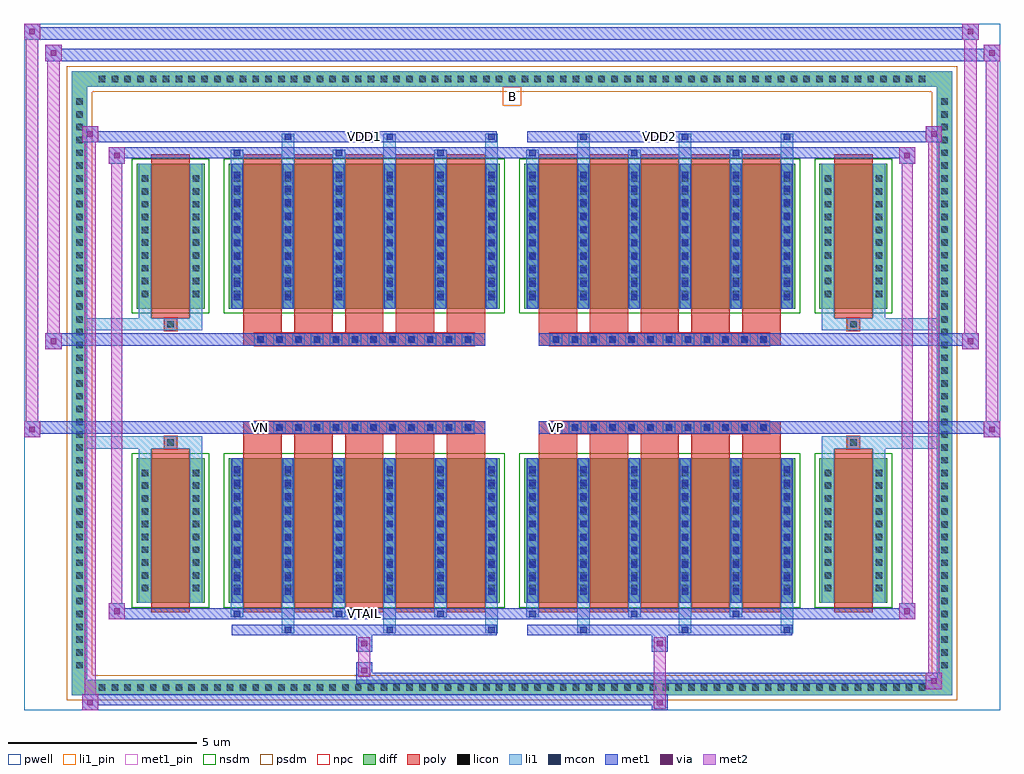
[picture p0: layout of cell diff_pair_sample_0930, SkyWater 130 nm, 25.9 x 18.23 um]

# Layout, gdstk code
import gdstk
lib = gdstk.Library(unit=1e-6, precision=5e-09)
def R(c, l, rs):  # rectangles x0, y0, x1, y1
    for r in rs: c.add(gdstk.rectangle(r[:2], r[2:], *l))
def A(c, l, x, y, w, h, nx, ny, dx, dy):  # array of equal rectangles
    R(c, l, [(x+i*dx, y+j*dy, x+i*dx+w, y+j*dy+h) for i in range(nx) for j in range(ny)])
def P(c, l, *ps):  # polygons
    for p in ps: c.add(gdstk.Polygon(p, *l))
pwell = (64, 44)
diff = (65, 20)
poly = (66, 20)
licon = (66, 44)
li1_pin = (67, 16)
li1 = (67, 20)
mcon = (67, 44)
met1_pin = (68, 16)
met1 = (68, 20)
via = (68, 44)
met2 = (69, 20)
nsdm = (93, 44)
psdm = (94, 20)
npc = (95, 20)

diff_pair_sample_0930 = lib.new_cell('diff_pair_sample_0930')
R(diff_pair_sample_0930, pwell, [(-12.95,-8.68,12.95,9.55), (-10.27,-6.87,-0.01,-0.805), (0.01,-6.87,10.27,-0.805), (-10.27,0.805,-0.01,6.87), (0.01,0.805,10.27,6.87)])
A(diff_pair_sample_0930, diff, -11.085, -8.28, 0.41, 0.41, 65, 2, 0.34, 16.15)
A(diff_pair_sample_0930, diff, -11.68, -7.685, 0.41, 0.41, 1, 45, 0, 0.34)
A(diff_pair_sample_0930, diff, 11.27, -7.685, 0.41, 0.41, 1, 45, 0, 0.34)
R(diff_pair_sample_0930, diff, [(-11.085,-8.28,11.085,-7.87), (-11.68,-7.685,-11.27,7.685), (11.27,-7.685,11.68,7.685), (-9.96,-5.825,-8.16,-1.985), (-7.52,-5.825,-0.32,-1.985), (0.32,-5.825,7.52,-1.985), (8.16,-5.825,9.96,-1.985), (-9.96,1.985,-8.16,5.825), (-7.52,1.985,-0.32,5.825), (0.32,1.985,7.52,5.825), (8.16,1.985,9.96,5.825), (-11.085,7.87,11.085,8.28)])
P(diff_pair_sample_0930, diff, [(11.68,8.28),(-11.68,8.28),(-11.68,-7.87),(-11.27,-7.87),(-11.27,7.87),(11.27,7.87),(11.27,-7.87),(-11.27,-7.87),(-11.68,-7.87),(-11.68,-8.28),(11.68,-8.28)])
A(diff_pair_sample_0930, poly, -7.13, -6.075, 1.02, 4.34, 5, 2, 1.35, 7.81)
A(diff_pair_sample_0930, poly, 0.71, -6.075, 1.02, 4.34, 5, 2, 1.35, 7.81)
A(diff_pair_sample_0930, poly, -7.13, -1.735, 1.02, 0.4, 5, 2, 1.35, 3.07)
A(diff_pair_sample_0930, poly, 0.71, -1.735, 1.02, 0.4, 5, 2, 1.35, 3.07)
A(diff_pair_sample_0930, poly, -6.835, -1.335, 0.33, 0.33, 12, 2, 0.5, 2.34)
A(diff_pair_sample_0930, poly, 1.005, -1.335, 0.33, 0.33, 12, 2, 0.5, 2.34)
R(diff_pair_sample_0930, poly, [(-9.57,-6.075,-8.55,-1.735), (8.55,-6.075,9.57,-1.735), (-9.225,-1.735,-8.895,-1.405), (-9.225,-1.735,-8.895,-1.405), (8.895,-1.735,9.225,-1.405), (8.895,-1.735,9.225,-1.405), (-7.13,-1.335,-0.71,-1.005), (0.71,-1.335,7.13,-1.005), (-7.13,1.005,-0.71,1.335), (0.71,1.005,7.13,1.335), (-9.225,1.405,-8.895,1.735), (-9.225,1.405,-8.895,1.735), (8.895,1.405,9.225,1.735), (8.895,1.405,9.225,1.735), (-9.57,1.735,-8.55,6.075), (8.55,1.735,9.57,6.075)])
A(diff_pair_sample_0930, licon, -10.965, -8.16, 0.17, 0.17, 65, 2, 0.34, 16.15)
A(diff_pair_sample_0930, licon, -11.56, -7.565, 0.17, 0.17, 1, 45, 0, 0.34)
A(diff_pair_sample_0930, licon, 11.39, -7.565, 0.17, 0.17, 1, 45, 0, 0.34)
A(diff_pair_sample_0930, licon, -9.82, -5.52, 0.17, 0.17, 1, 10, 0, 0.34)
A(diff_pair_sample_0930, licon, -8.47, -5.52, 0.17, 0.17, 1, 10, 0, 0.34)
A(diff_pair_sample_0930, licon, -7.38, -5.52, 0.17, 0.17, 6, 10, 1.35, 0.34)
A(diff_pair_sample_0930, licon, 0.46, -5.52, 0.17, 0.17, 6, 10, 1.35, 0.34)
A(diff_pair_sample_0930, licon, 8.3, -5.52, 0.17, 0.17, 1, 10, 0, 0.34)
A(diff_pair_sample_0930, licon, 9.65, -5.52, 0.17, 0.17, 1, 10, 0, 0.34)
A(diff_pair_sample_0930, licon, -6.755, -1.255, 0.17, 0.17, 12, 2, 0.5, 2.34)
A(diff_pair_sample_0930, licon, 1.085, -1.255, 0.17, 0.17, 12, 2, 0.5, 2.34)
A(diff_pair_sample_0930, licon, -9.82, 2.29, 0.17, 0.17, 1, 10, 0, 0.34)
A(diff_pair_sample_0930, licon, -8.47, 2.29, 0.17, 0.17, 1, 10, 0, 0.34)
A(diff_pair_sample_0930, licon, -7.38, 2.29, 0.17, 0.17, 6, 10, 1.35, 0.34)
A(diff_pair_sample_0930, licon, 0.46, 2.29, 0.17, 0.17, 6, 10, 1.35, 0.34)
A(diff_pair_sample_0930, licon, 8.3, 2.29, 0.17, 0.17, 1, 10, 0, 0.34)
A(diff_pair_sample_0930, licon, 9.65, 2.29, 0.17, 0.17, 1, 10, 0, 0.34)
R(diff_pair_sample_0930, licon, [(-9.145,-1.655,-8.975,-1.485), (8.975,-1.655,9.145,-1.485), (-9.145,1.485,-8.975,1.655), (8.975,1.485,9.145,1.655)])
R(diff_pair_sample_0930, li1_pin, [(-0.25,7.37,0.25,7.87)])
A(diff_pair_sample_0930, li1, -11.045, -8.24, 0.33, 0.33, 65, 2, 0.34, 16.15)
A(diff_pair_sample_0930, li1, -11.64, -7.645, 0.33, 0.33, 1, 45, 0, 0.34)
A(diff_pair_sample_0930, li1, 11.31, -7.645, 0.33, 0.33, 1, 45, 0, 0.34)
A(diff_pair_sample_0930, li1, -6.11, -6.63, 0.33, 0.805, 3, 2, 2.7, 12.455)
A(diff_pair_sample_0930, li1, -6.03, -6.63, 0.17, 0.17, 3, 2, 2.7, 13.09)
A(diff_pair_sample_0930, li1, 1.73, -6.63, 0.33, 0.805, 3, 2, 2.7, 12.455)
A(diff_pair_sample_0930, li1, 1.81, -6.63, 0.17, 0.17, 3, 2, 2.7, 13.09)
A(diff_pair_sample_0930, li1, -7.46, -6.2, 0.33, 0.375, 3, 2, 2.7, 12.025)
A(diff_pair_sample_0930, li1, -7.38, -6.2, 0.17, 0.17, 3, 2, 2.7, 12.23)
A(diff_pair_sample_0930, li1, 0.38, -6.2, 0.33, 0.375, 3, 2, 2.7, 12.025)
A(diff_pair_sample_0930, li1, 0.46, -6.2, 0.17, 0.17, 3, 2, 2.7, 12.23)
A(diff_pair_sample_0930, li1, -7.46, -5.825, 0.33, 3.84, 6, 2, 1.35, 7.81)
A(diff_pair_sample_0930, li1, 0.38, -5.825, 0.33, 3.84, 6, 2, 1.35, 7.81)
A(diff_pair_sample_0930, li1, -7.38, -5.61, 0.17, 0.17, 6, 10, 1.35, 0.36)
A(diff_pair_sample_0930, li1, -7.38, -5.61, 0.17, 3.41, 6, 2, 1.35, 7.81)
A(diff_pair_sample_0930, li1, 0.46, -5.61, 0.17, 0.17, 6, 10, 1.35, 0.36)
A(diff_pair_sample_0930, li1, 0.46, -5.61, 0.17, 3.41, 6, 2, 1.35, 7.81)
A(diff_pair_sample_0930, li1, -9.9, -5.6, 0.33, 0.33, 1, 10, 0, 0.34)
A(diff_pair_sample_0930, li1, -8.55, -5.6, 0.33, 0.33, 1, 10, 0, 0.34)
A(diff_pair_sample_0930, li1, -7.46, -5.6, 0.33, 0.33, 6, 10, 1.35, 0.34)
A(diff_pair_sample_0930, li1, 0.38, -5.6, 0.33, 0.33, 6, 10, 1.35, 0.34)
A(diff_pair_sample_0930, li1, 8.22, -5.6, 0.33, 0.33, 1, 10, 0, 0.34)
A(diff_pair_sample_0930, li1, 9.57, -5.6, 0.33, 0.33, 1, 10, 0, 0.34)
A(diff_pair_sample_0930, li1, -6.835, -1.335, 0.33, 0.33, 12, 2, 0.5, 2.34)
A(diff_pair_sample_0930, li1, 1.005, -1.335, 0.33, 0.33, 12, 2, 0.5, 2.34)
A(diff_pair_sample_0930, li1, -7.38, 2.2, 0.17, 0.17, 6, 10, 1.35, 0.36)
A(diff_pair_sample_0930, li1, 0.46, 2.2, 0.17, 0.17, 6, 10, 1.35, 0.36)
A(diff_pair_sample_0930, li1, -9.9, 2.21, 0.33, 0.33, 1, 10, 0, 0.34)
A(diff_pair_sample_0930, li1, -8.55, 2.21, 0.33, 0.33, 1, 10, 0, 0.34)
A(diff_pair_sample_0930, li1, -7.46, 2.21, 0.33, 0.33, 6, 10, 1.35, 0.34)
A(diff_pair_sample_0930, li1, 0.38, 2.21, 0.33, 0.33, 6, 10, 1.35, 0.34)
A(diff_pair_sample_0930, li1, 8.22, 2.21, 0.33, 0.33, 1, 10, 0, 0.34)
A(diff_pair_sample_0930, li1, 9.57, 2.21, 0.33, 0.33, 1, 10, 0, 0.34)
R(diff_pair_sample_0930, li1, [(-11.68,-8.28,-11.27,-7.87), (-11.68,-8.28,-11.27,-7.87), (-11.27,-8.28,11.27,-7.87), (11.27,-8.28,11.68,-7.87), (11.27,-8.28,11.68,-7.87), (-11.68,-7.87,-11.27,7.87), (11.27,-7.87,11.68,7.87), (-9.9,-5.825,-9.57,-1.985), (-8.55,-5.825,-8.22,-1.985), (8.22,-5.825,8.55,-1.985), (9.57,-5.825,9.9,-1.985), (-9.9,-1.985,-9.57,-1.405), (-8.55,-1.985,-8.22,-1.405), (8.22,-1.985,8.55,-1.405), (9.57,-1.985,9.9,-1.405), (-11.68,-1.735,-9.225,-1.405), (-9.9,-1.735,-9.225,-1.405), (-9.225,-1.735,-8.895,-1.405), (-8.895,-1.735,-8.22,-1.405), (8.22,-1.735,8.895,-1.405), (8.895,-1.735,9.225,-1.405), (8.895,-1.735,11.68,-1.405), (9.225,-1.735,9.9,-1.405), (-11.68,1.405,-9.225,1.735), (-9.9,1.405,-9.225,1.735), (-9.9,1.405,-9.57,1.985), (-9.225,1.405,-8.895,1.735), (-8.895,1.405,-8.22,1.735), (-8.55,1.405,-8.22,1.985), (8.22,1.405,8.895,1.735), (8.22,1.405,8.55,1.985), (8.895,1.405,9.225,1.735), (8.895,1.405,11.68,1.735), (9.225,1.405,9.9,1.735), (9.57,1.405,9.9,1.985), (-9.9,1.985,-9.57,5.825), (-8.55,1.985,-8.22,5.825), (8.22,1.985,8.55,5.825), (9.57,1.985,9.9,5.825), (-11.68,7.87,-11.27,8.28), (-11.68,7.87,-11.27,8.28), (-11.27,7.87,11.27,8.28), (11.27,7.87,11.68,8.28), (11.27,7.87,11.68,8.28)])
A(diff_pair_sample_0930, mcon, -6.03, -6.63, 0.17, 0.17, 3, 2, 2.7, 13.09)
A(diff_pair_sample_0930, mcon, 1.81, -6.63, 0.17, 0.17, 3, 2, 2.7, 13.09)
A(diff_pair_sample_0930, mcon, -7.38, -6.2, 0.17, 0.17, 3, 2, 2.7, 12.23)
A(diff_pair_sample_0930, mcon, 0.46, -6.2, 0.17, 0.17, 3, 2, 2.7, 12.23)
A(diff_pair_sample_0930, mcon, -7.38, -5.61, 0.17, 0.17, 6, 10, 1.35, 0.36)
A(diff_pair_sample_0930, mcon, 0.46, -5.61, 0.17, 0.17, 6, 10, 1.35, 0.36)
A(diff_pair_sample_0930, mcon, -6.755, -1.255, 0.17, 0.17, 12, 2, 0.5, 2.34)
A(diff_pair_sample_0930, mcon, 1.085, -1.255, 0.17, 0.17, 12, 2, 0.5, 2.34)
A(diff_pair_sample_0930, mcon, -7.38, 2.2, 0.17, 0.17, 6, 10, 1.35, 0.36)
A(diff_pair_sample_0930, mcon, 0.46, 2.2, 0.17, 0.17, 6, 10, 1.35, 0.36)
R(diff_pair_sample_0930, met1_pin, [(-4.055,-6.24,-3.785,-5.97), (-6.805,-1.295,-6.535,-1.025), (1.035,-1.295,1.305,-1.025), (-4.055,6.42,-3.785,6.69), (3.785,6.42,4.055,6.69)])
A(diff_pair_sample_0930, met1, -6.09, -6.69, 0.29, 0.29, 3, 2, 2.7, 13.09)
A(diff_pair_sample_0930, met1, 1.75, -6.69, 0.29, 0.29, 3, 2, 2.7, 13.09)
A(diff_pair_sample_0930, met1, -7.44, -6.26, 0.29, 0.29, 3, 2, 2.7, 12.23)
A(diff_pair_sample_0930, met1, 0.4, -6.26, 0.29, 0.29, 3, 2, 2.7, 12.23)
A(diff_pair_sample_0930, met1, -7.44, -5.825, 0.29, 3.84, 6, 2, 1.35, 7.81)
A(diff_pair_sample_0930, met1, 0.4, -5.825, 0.29, 3.84, 6, 2, 1.35, 7.81)
A(diff_pair_sample_0930, met1, -7.44, -5.67, 0.29, 0.29, 6, 10, 1.35, 0.36)
A(diff_pair_sample_0930, met1, 0.4, -5.67, 0.29, 0.29, 6, 10, 1.35, 0.36)
A(diff_pair_sample_0930, met1, -6.815, -1.315, 0.29, 0.29, 12, 2, 0.5, 2.34)
A(diff_pair_sample_0930, met1, 1.025, -1.315, 0.29, 0.29, 12, 2, 0.5, 2.34)
A(diff_pair_sample_0930, met1, -7.44, 2.14, 0.29, 0.29, 6, 10, 1.35, 0.36)
A(diff_pair_sample_0930, met1, 0.4, 2.14, 0.29, 0.29, 6, 10, 1.35, 0.36)
R(diff_pair_sample_0930, met1, [(-11.41,-8.68,-10.98,-8.25), (3.705,-8.68,4.135,-8.25), (-11.41,-8.54,4.135,-8.25), (10.98,-8.11,11.41,-7.68), (-4.135,-7.97,11.41,-7.68), (-4.135,-7.83,-3.705,-7.4), (-4.135,-7.12,-3.705,-6.69), (3.705,-7.12,4.135,-6.69), (-7.44,-6.69,-0.4,-6.4), (0.4,-6.69,7.44,-6.4), (-10.7,-6.26,-10.27,-5.83), (-10.7,-6.26,-7.44,-5.97), (-7.44,-6.26,-0.4,-5.97), (-0.4,-6.26,0.4,-5.97), (0.4,-6.26,7.44,-5.97), (7.44,-6.26,10.7,-5.97), (10.27,-6.26,10.7,-5.83), (-12.95,-1.435,-12.52,-1.005), (12.52,-1.435,12.95,-1.005), (-12.95,-1.335,-0.71,-1.005), (-7.13,-1.335,-0.71,-1.005), (0.71,-1.335,7.13,-1.005), (0.71,-1.335,12.95,-1.005), (-12.38,0.905,-11.95,1.335), (11.95,0.905,12.38,1.335), (-12.38,1.005,-7.13,1.335), (-7.13,1.005,-0.71,1.335), (0.71,1.005,7.13,1.335), (7.13,1.005,12.38,1.335), (-10.7,5.83,-10.27,6.26), (10.27,5.83,10.7,6.26), (-10.7,5.97,-7.44,6.26), (-7.44,5.97,-0.4,6.26), (-0.4,5.97,0.4,6.26), (0.4,5.97,7.44,6.26), (7.44,5.97,10.7,6.26), (-11.41,6.4,-10.98,6.83), (-11.41,6.4,-7.44,6.69), (-7.44,6.4,-0.4,6.69), (0.4,6.4,7.44,6.69), (7.44,6.4,11.41,6.69), (10.98,6.4,11.41,6.83), (-12.38,8.55,-11.95,8.98), (-12.38,8.55,-10.27,8.88), (-10.27,8.55,10.27,8.88), (10.27,8.55,12.95,8.88), (12.52,8.55,12.95,8.98), (-12.95,9.12,-12.52,9.55), (-12.95,9.12,-10.27,9.45), (-10.27,9.12,10.27,9.45), (10.27,9.12,12.38,9.45), (11.95,9.12,12.38,9.55)])
R(diff_pair_sample_0930, via, [(-11.27,-8.54,-11.12,-8.39), (3.845,-8.54,3.995,-8.39), (11.12,-7.97,11.27,-7.82), (-3.995,-7.69,-3.845,-7.54), (-3.995,-6.98,-3.845,-6.83), (3.845,-6.98,3.995,-6.83), (-10.56,-6.12,-10.41,-5.97), (10.41,-6.12,10.56,-5.97), (-12.81,-1.295,-12.66,-1.145), (12.66,-1.295,12.81,-1.145), (-12.24,1.045,-12.09,1.195), (12.09,1.045,12.24,1.195), (-10.56,5.97,-10.41,6.12), (10.41,5.97,10.56,6.12), (-11.27,6.54,-11.12,6.69), (11.12,6.54,11.27,6.69), (-12.24,8.69,-12.09,8.84), (12.66,8.69,12.81,8.84), (-12.81,9.26,-12.66,9.41), (12.09,9.26,12.24,9.41)])
R(diff_pair_sample_0930, met2, [(-11.41,-8.68,-10.98,-8.25), (-11.34,-8.68,-11.05,6.83), (-11.05,-8.68,-10.98,-8.25), (-11.36,-8.63,-11.03,-8.3), (3.755,-8.63,4.085,-8.3), (3.755,-8.3,4.085,-7.07), (10.98,-8.11,11.41,-7.68), (11.05,-8.11,11.34,6.83), (11.34,-8.11,11.41,-7.68), (11.03,-8.06,11.36,-7.73), (-4.085,-7.78,-3.755,-7.45), (-4.085,-7.45,-3.755,-7.07), (-4.085,-7.07,-3.755,-6.74), (3.755,-7.07,4.085,-6.74), (-10.7,-6.26,-10.27,-5.83), (-10.63,-6.26,-10.34,6.26), (-10.34,-6.26,-10.27,-5.83), (10.27,-6.26,10.7,-5.83), (10.34,-6.26,10.63,6.26), (10.63,-6.26,10.7,-5.83), (-10.65,-6.21,-10.32,-5.88), (10.32,-6.21,10.65,-5.88), (-12.95,-1.435,-12.52,-1.005), (-12.9,-1.435,-12.57,9.55), (-12.57,-1.435,-12.52,-1.005), (12.52,-1.435,12.95,-1.005), (12.57,-1.435,12.9,8.98), (12.9,-1.435,12.95,-1.005), (-12.9,-1.385,-12.57,-1.055), (12.57,-1.385,12.9,-1.055), (-12.38,0.905,-11.95,1.335), (-12.33,0.905,-12,8.98), (-12,0.905,-11.95,1.335), (11.95,0.905,12.38,1.335), (12,0.905,12.33,9.55), (12.33,0.905,12.38,1.335), (-12.33,0.955,-12,1.285), (12,0.955,12.33,1.285), (-10.7,5.83,-10.27,6.26), (-10.34,5.83,-10.27,6.26), (10.27,5.83,10.7,6.26), (10.63,5.83,10.7,6.26), (-10.65,5.88,-10.32,6.21), (10.32,5.88,10.65,6.21), (-11.41,6.4,-10.98,6.83), (-11.05,6.4,-10.98,6.83), (10.98,6.4,11.41,6.83), (11.34,6.4,11.41,6.83), (-11.36,6.45,-11.03,6.78), (11.03,6.45,11.36,6.78), (-12.38,8.55,-11.95,8.98), (-12,8.55,-11.95,8.98), (12.52,8.55,12.95,8.98), (12.9,8.55,12.95,8.98), (-12.33,8.6,-12,8.93), (12.57,8.6,12.9,8.93), (-12.95,9.12,-12.52,9.55), (-12.57,9.12,-12.52,9.55), (11.95,9.12,12.38,9.55), (12.33,9.12,12.38,9.55), (-12.9,9.17,-12.57,9.5), (12,9.17,12.33,9.5)])
R(diff_pair_sample_0930, nsdm, [(-10.09,-5.955,-8.03,-1.855), (-7.65,-5.955,-0.19,-1.855), (0.19,-5.955,7.65,-1.855), (8.03,-5.955,10.09,-1.855), (-10.09,1.855,-8.03,5.955), (-7.65,1.855,-0.19,5.955), (0.19,1.855,7.65,5.955), (8.03,1.855,10.09,5.955)])
P(diff_pair_sample_0930, psdm, [(11.81,8.41),(-11.81,8.41),(-11.81,-7.74),(-11.14,-7.74),(-11.14,7.74),(11.14,7.74),(11.14,-7.74),(-11.14,-7.74),(-11.81,-7.74),(-11.81,-8.41),(11.81,-8.41)])
A(diff_pair_sample_0930, npc, -6.855, -1.355, 0.37, 0.37, 12, 2, 0.5, 2.34)
A(diff_pair_sample_0930, npc, 0.985, -1.355, 0.37, 0.37, 12, 2, 0.5, 2.34)
R(diff_pair_sample_0930, npc, [(-9.245,-1.755,-8.875,-1.385), (8.875,-1.755,9.245,-1.385), (-6.855,-1.355,-5.985,-0.985), (-6.855,-1.355,-5.985,-0.985), (-6.355,-1.355,-5.485,-0.985), (-6.355,-1.355,-5.485,-0.985), (-5.855,-1.355,-4.985,-0.985), (-5.855,-1.355,-4.985,-0.985), (-5.355,-1.355,-4.485,-0.985), (-5.355,-1.355,-4.485,-0.985), (-4.855,-1.355,-3.985,-0.985), (-4.855,-1.355,-3.985,-0.985), (-4.355,-1.355,-3.485,-0.985), (-4.355,-1.355,-3.485,-0.985), (-3.855,-1.355,-2.985,-0.985), (-3.855,-1.355,-2.985,-0.985), (-3.355,-1.355,-2.485,-0.985), (-3.355,-1.355,-2.485,-0.985), (-2.855,-1.355,-1.985,-0.985), (-2.855,-1.355,-1.985,-0.985), (-2.355,-1.355,-1.485,-0.985), (-2.355,-1.355,-1.485,-0.985), (-1.855,-1.355,-0.985,-0.985), (-1.855,-1.355,-0.985,-0.985), (0.985,-1.355,1.855,-0.985), (0.985,-1.355,1.855,-0.985), (1.485,-1.355,2.355,-0.985), (1.485,-1.355,2.355,-0.985), (1.985,-1.355,2.855,-0.985), (1.985,-1.355,2.855,-0.985), (2.485,-1.355,3.355,-0.985), (2.485,-1.355,3.355,-0.985), (2.985,-1.355,3.855,-0.985), (2.985,-1.355,3.855,-0.985), (3.485,-1.355,4.355,-0.985), (3.485,-1.355,4.355,-0.985), (3.985,-1.355,4.855,-0.985), (3.985,-1.355,4.855,-0.985), (4.485,-1.355,5.355,-0.985), (4.485,-1.355,5.355,-0.985), (4.985,-1.355,5.855,-0.985), (4.985,-1.355,5.855,-0.985), (5.485,-1.355,6.355,-0.985), (5.485,-1.355,6.355,-0.985), (5.985,-1.355,6.855,-0.985), (5.985,-1.355,6.855,-0.985), (-6.855,0.985,-5.985,1.355), (-6.855,0.985,-5.985,1.355), (-6.355,0.985,-5.485,1.355), (-6.355,0.985,-5.485,1.355), (-5.855,0.985,-4.985,1.355), (-5.855,0.985,-4.985,1.355), (-5.355,0.985,-4.485,1.355), (-5.355,0.985,-4.485,1.355), (-4.855,0.985,-3.985,1.355), (-4.855,0.985,-3.985,1.355), (-4.355,0.985,-3.485,1.355), (-4.355,0.985,-3.485,1.355), (-3.855,0.985,-2.985,1.355), (-3.855,0.985,-2.985,1.355), (-3.355,0.985,-2.485,1.355), (-3.355,0.985,-2.485,1.355), (-2.855,0.985,-1.985,1.355), (-2.855,0.985,-1.985,1.355), (-2.355,0.985,-1.485,1.355), (-2.355,0.985,-1.485,1.355), (-1.855,0.985,-0.985,1.355), (-1.855,0.985,-0.985,1.355), (0.985,0.985,1.855,1.355), (0.985,0.985,1.855,1.355), (1.485,0.985,2.355,1.355), (1.485,0.985,2.355,1.355), (1.985,0.985,2.855,1.355), (1.985,0.985,2.855,1.355), (2.485,0.985,3.355,1.355), (2.485,0.985,3.355,1.355), (2.985,0.985,3.855,1.355), (2.985,0.985,3.855,1.355), (3.485,0.985,4.355,1.355), (3.485,0.985,4.355,1.355), (3.985,0.985,4.855,1.355), (3.985,0.985,4.855,1.355), (4.485,0.985,5.355,1.355), (4.485,0.985,5.355,1.355), (4.985,0.985,5.855,1.355), (4.985,0.985,5.855,1.355), (5.485,0.985,6.355,1.355), (5.485,0.985,6.355,1.355), (5.985,0.985,6.855,1.355), (5.985,0.985,6.855,1.355), (-9.245,1.385,-8.875,1.755), (8.875,1.385,9.245,1.755)])
diff_pair_sample_0930.add(gdstk.Label('VTAIL', (-3.92,-6.105), layer=68, texttype=5))
diff_pair_sample_0930.add(gdstk.Label('VN', (-6.67,-1.16), layer=68, texttype=5))
diff_pair_sample_0930.add(gdstk.Label('VP', (1.17,-1.16), layer=68, texttype=5))
diff_pair_sample_0930.add(gdstk.Label('B', (0,7.62), layer=67, texttype=5))
diff_pair_sample_0930.add(gdstk.Label('VDD2', (3.92,6.555), layer=68, texttype=5))
diff_pair_sample_0930.add(gdstk.Label('VDD1', (-3.92,6.555), layer=68, texttype=5))

lib.write_gds('diff_pair_sample_0930.gds')
